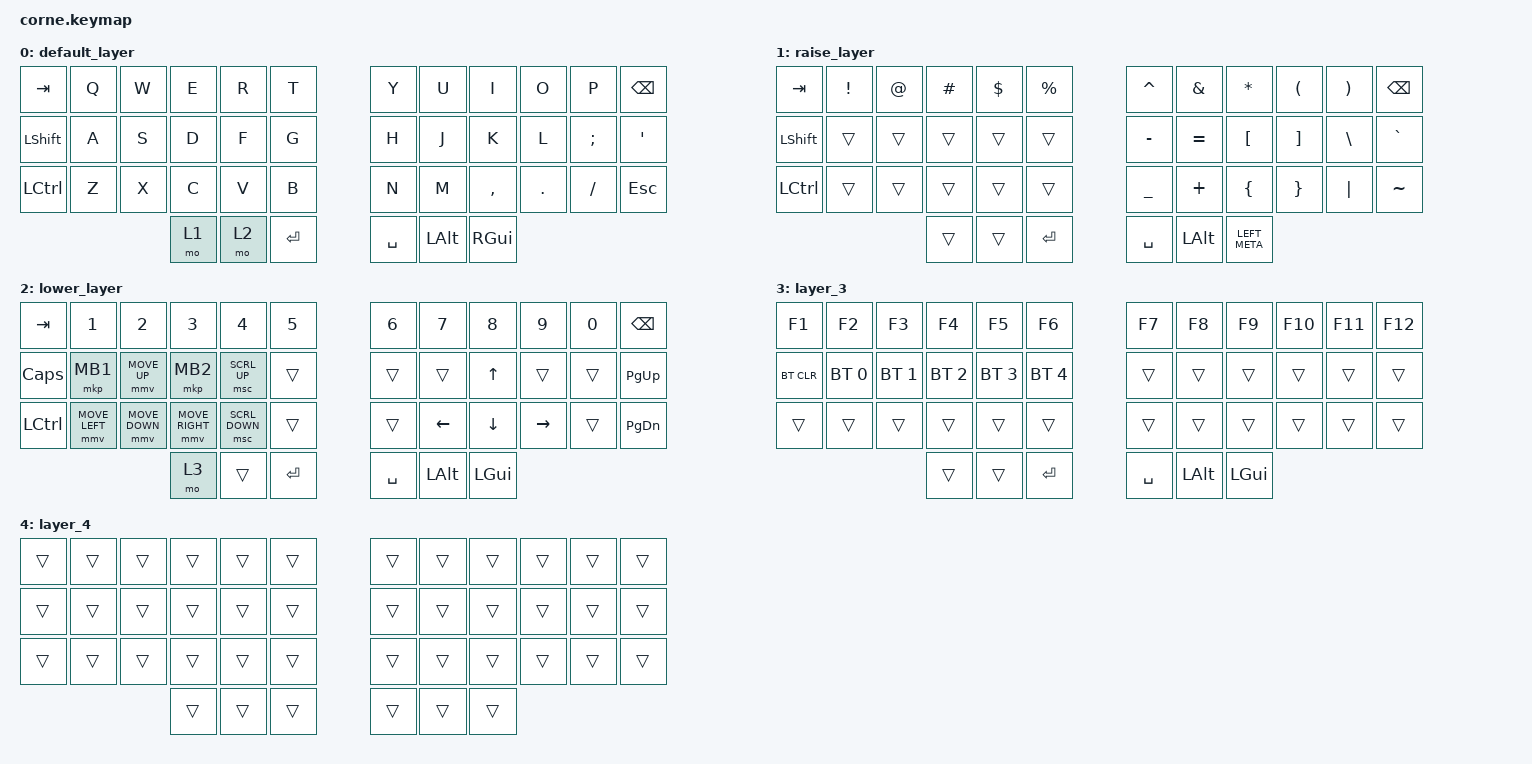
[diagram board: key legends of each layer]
/*
 * Copyright (c) 2020 The ZMK Contributors
 *
 * SPDX-License-Identifier: MIT
 */

#include <behaviors.dtsi>
#include <dt-bindings/zmk/bt.h>
#include <dt-bindings/zmk/keys.h>
#include <dt-bindings/zmk/pointing.h>

/ {
    keymap {
        compatible = "zmk,keymap";

        default_layer {
            // -----------------------------------------------------------------------------------------
            // |  TAB |  Q  |  W  |  E  |  R  |  T  |   |  Y  |  U   |  I  |  O  |  P  | BSPC |
            // | CTRL |  A  |  S  |  D  |  F  |  G  |   |  H  |  J   |  K  |  L  |  ;  |  '   |
            // | SHFT |  Z  |  X  |  C  |  V  |  B  |   |  N  |  M   |  ,  |  .  |  /  | ESC  |
            //                    | GUI | LWR | SPC |   | ENT | RSE  | ALT |

            bindings = <
&kp TAB           &kp Q  &kp W  &kp E  &kp R  &kp T        &kp Y      &kp U         &kp I      &kp O    &kp P     &kp BSPC
&kp LSHIFT        &kp A  &kp S  &kp D  &kp F  &kp G        &kp H      &kp J         &kp K      &kp L    &kp SEMI  &kp SQT
&kp LEFT_CONTROL  &kp Z  &kp X  &kp C  &kp V  &kp B        &kp N      &kp M         &kp COMMA  &kp DOT  &kp FSLH  &kp ESC
                                &mo 1  &mo 2  &kp ENTER    &kp SPACE  &kp LEFT_ALT  &kp RGUI
            >;
        };

        raise_layer {
            // -----------------------------------------------------------------------------------------
            // |  TAB |  !  |  @  |  #  |  $  |  %  |   |  ^  |  &  |  *  |  (  |  )  | BSPC |
            // | CTRL |     |     |     |     |     |   |  -  |  =  |  [  |  ]  |  \  |  `   |
            // | SHFT |     |     |     |     |     |   |  _  |  +  |  {  |  }  | "|" |  ~   |
            //                    | GUI |     | SPC |   | ENT |     | ALT |

            bindings = <
&kp TAB     &kp EXCL  &kp AT  &kp HASH  &kp DLLR  &kp PRCNT     &kp CARET  &kp AMPS      &kp ASTRK      &kp LPAR  &kp RPAR  &kp BSPC
&kp LSHIFT  &trans    &trans  &trans    &trans    &trans        &kp MINUS  &kp EQUAL     &kp LBKT       &kp RBKT  &kp BSLH  &kp GRAVE
&kp LCTRL   &trans    &trans  &trans    &trans    &trans        &kp UNDER  &kp PLUS      &kp LBRC       &kp RBRC  &kp PIPE  &kp TILDE
                              &trans    &trans    &kp RETURN    &kp SPACE  &kp LEFT_ALT  &kp LEFT_META
            >;
        };

        lower_layer {
            // -----------------------------------------------------------------------------------------
            // |  TAB |  1  |  2  |  3  |  4  |  5  |   |  6  |  7  |  8  |  9  |  0  | BSPC |
            // | BTCLR| BT1 | BT2 | BT3 | BT4 | BT5 |   | LFT | DWN |  UP | RGT |     |      |
            // | SHFT |     |     |     |     |     |   |     |     |     |     |     |      |
            //                    | GUI |     | SPC |   | ENT |     | ALT |

            bindings = <
&kp TAB           &kp N1          &kp N2          &kp N3           &kp N4          &kp N5       &kp N6     &kp N7          &kp N8          &kp N9           &kp N0  &kp BSPC
&kp CAPSLOCK      &mkp MB1        &mmv MOVE_UP    &mkp MB2         &msc SCRL_UP    &trans       &trans     &trans          &kp UP          &trans           &trans  &kp PAGE_UP
&kp LEFT_CONTROL  &mmv MOVE_LEFT  &mmv MOVE_DOWN  &mmv MOVE_RIGHT  &msc SCRL_DOWN  &trans       &trans     &kp LEFT_ARROW  &kp DOWN_ARROW  &kp RIGHT_ARROW  &trans  &kp PAGE_DOWN
                                                  &mo 3            &trans          &kp ENTER    &kp SPACE  &kp LEFT_ALT    &kp LEFT_GUI
            >;
        };

        layer_3 {
            bindings = <
&kp F1      &kp F2        &kp F3        &kp F4        &kp F5        &kp F6          &kp F7     &kp F8        &kp F9    &kp F10  &kp F11  &kp F12
&bt BT_CLR  &bt BT_SEL 0  &bt BT_SEL 1  &bt BT_SEL 2  &bt BT_SEL 3  &bt BT_SEL 4    &trans     &trans        &trans    &trans   &trans   &trans
&trans      &trans        &trans        &trans        &trans        &trans          &trans     &trans        &trans    &trans   &trans   &trans
                                        &trans        &trans        &kp RET         &kp SPACE  &kp LEFT_ALT  &kp LGUI
            >;
        };

        layer_4 {
            bindings = <
&trans  &trans  &trans  &trans  &trans  &trans    &trans  &trans  &trans  &trans  &trans  &trans
&trans  &trans  &trans  &trans  &trans  &trans    &trans  &trans  &trans  &trans  &trans  &trans
&trans  &trans  &trans  &trans  &trans  &trans    &trans  &trans  &trans  &trans  &trans  &trans
                        &trans  &trans  &trans    &trans  &trans  &trans
            >;
        };
    };
};
